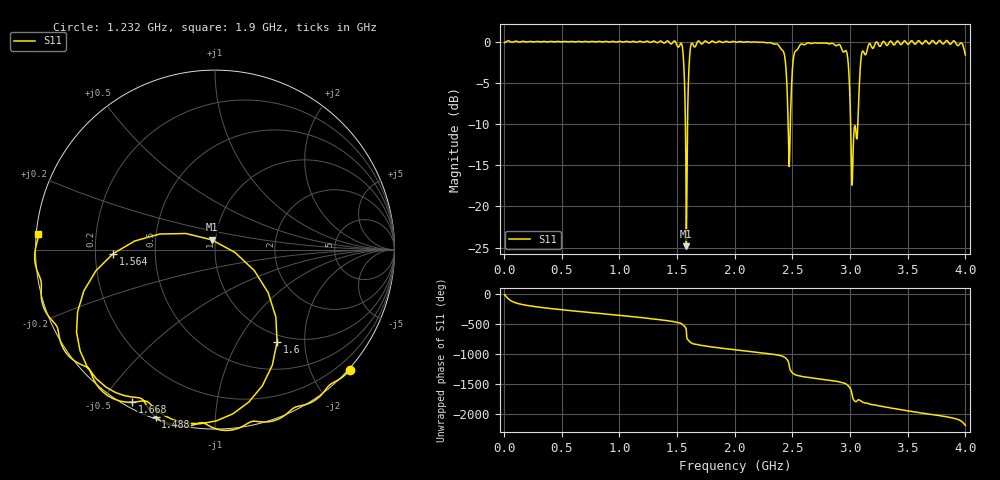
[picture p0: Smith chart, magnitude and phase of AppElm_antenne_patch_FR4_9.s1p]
! TOUCHSTONE file generated by CST MICROWAVE STUDIO
! Date and time: Tue Jun 14 12:12:50 2022
! Project name: AppElm_antenne_patch_FR4.cst
! Parameters = {L=45; W=58.5; e=0.035; h=1.6; lambda=0.190476; ls=120; w0=2.921; w1=0.847; ws=120; y0=18; y1=23.8}
! Header version: 2018
! Port assignment regex: !\s*Touchstone port\s*([0-9]+)\s*=\s*(CST MWS port|CST DS port)\s*([0-9]+|Zmin|Zmax)\s*\(\"(.*)\"\)(\s*mode\s*([0-9]+))?.*
! Touchstone port assignment:
! Touchstone port 1 = CST MWS port 1 ("")
# GHz S MA R 50
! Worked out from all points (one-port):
!   1000 points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, 4 MHz to 4 GHz, reference 50 ohm
!   lowest |S11| = -24.8 dB at 1.58 GHz (marker M1), VSWR 1.12, Z = 47.9 + j5.24 ohm
!   |S11| at or under -10 dB: 1.572 GHz to 1.59 GHz (18.15 MHz wide, 1.15 % of centre); 2.463 GHz to 2.482 GHz (19.4 MHz wide, 0.785 % of centre); 3.005 GHz to 3.067 GHz (62.65 MHz wide, 2.06 % of centre)
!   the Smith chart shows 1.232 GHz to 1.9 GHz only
!   S11 on the Smith chart (normalised r, x): 1.232 GHz: -0.02, -2.63; 1.488 GHz: 0.01, -0.71; 1.564 GHz: 0.28, -0.02; 1.6 GHz: 0.89, -1.49; 1.668 GHz: 0.02, -0.60; 1.9 GHz: 0.01, +0.05
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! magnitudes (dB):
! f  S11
! 4 MHz  -0.1
! 504 MHz  0.0
! 1.004 GHz  0.0
! 1.232 GHz  0.0
! 1.488 GHz  -0.1
! 1.504 GHz  -0.6
! 1.544 GHz  -0.5
! 1.564 GHz  -4.9
! 1.58 GHz  -24.8
! 1.6 GHz  -4.2
! 1.608 GHz  -1.9
! 1.62 GHz  -0.4
! 1.668 GHz  -0.3
! 1.9 GHz  -0.1
! 2.004 GHz  0.0
! 2.404 GHz  -0.9
! 2.432 GHz  -1.7
! 2.472 GHz  -15.1
! 2.504 GHz  -2.6
! 2.576 GHz  -0.3
! 2.908 GHz  -0.4
! 2.972 GHz  -1.3
! 3.004 GHz  -9.5
! 3.032 GHz  -11.3
! 3.096 GHz  -1.9
! 3.116 GHz  -1.2
! 3.504 GHz  -0.3
! 4 GHz  -1.6
